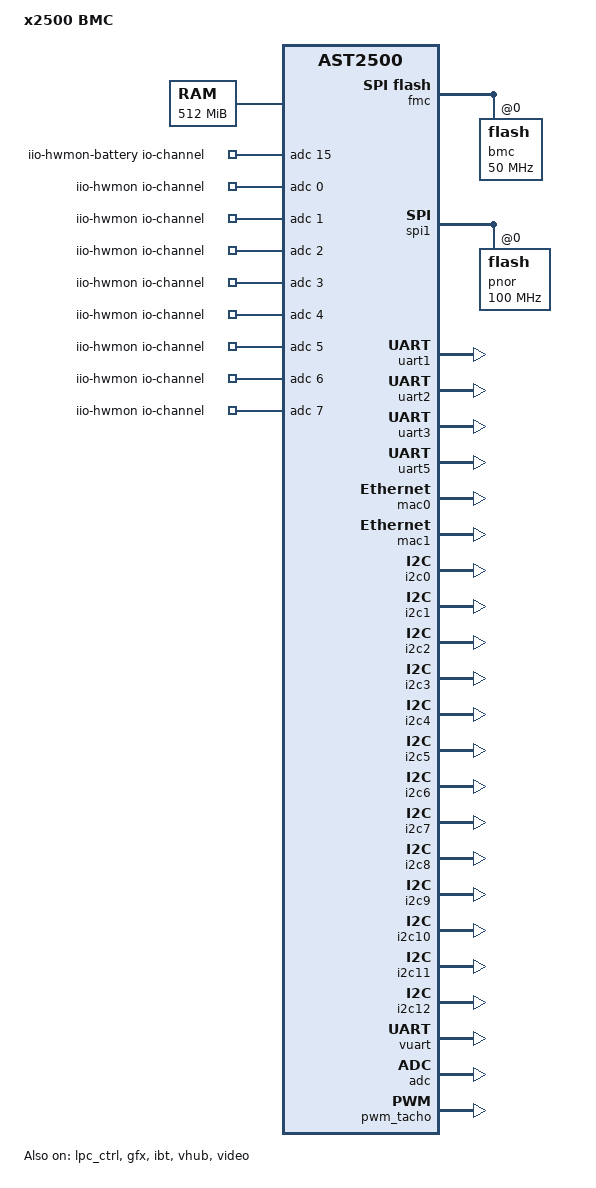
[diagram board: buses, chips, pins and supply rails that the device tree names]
// SPDX-License-Identifier: GPL-2.0+
/dts-v1/;
#include "aspeed-g5.dtsi"
#include <dt-bindings/gpio/aspeed-gpio.h>

/ {
	model = "x2500 BMC";
	compatible = "smci,x2500-bmc", "aspeed,ast2500";

	chosen {
		stdout-path = &uart5;
		bootargs = "console=ttyS4,115200 earlyprintk";
	};

	memory@80000000 {
		reg = <0x80000000 0x20000000>;
	};

	reserved-memory {
		#address-cells = <1>;
		#size-cells = <1>;
		ranges;

		vga_memory: framebuffer@9f000000 {
			no-map;
			reg = <0x9f000000 0x01000000>; /* 16M */
		};

		flash_memory: region@98000000 {
			no-map;
			reg = <0x98000000 0x04000000>; /* 64M */
		};

		gfx_memory: framebuffer {
			size = <0x01000000>;
			alignment = <0x01000000>;
			compatible = "shared-dma-pool";
			reusable;
		};

		video_engine_memory: jpegbuffer {
			size = <0x02000000>;	/* 32M */
			alignment = <0x01000000>;
			compatible = "shared-dma-pool";
			reusable;
		};
	};

	gpio-keys {
		compatible = "gpio-keys";

	};

	iio-hwmon-battery {
		compatible = "iio-hwmon";
		io-channels = <&adc 15>;
	};

	iio-hwmon {
		compatible = "iio-hwmon";
		io-channels = <&adc 0>, <&adc 1>, <&adc 2>, <&adc 3>, <&adc 4>,
			<&adc 5>, <&adc 6>, <&adc 7>, <&adc 8>, <&adc 9>,
			<&adc 10>, <&adc 11>, <&adc 12>, <&adc 13>, <&adc 14>;
	};

};

&fmc {
	status = "okay";

	flash@0 {
		status = "okay";
		label = "bmc";
		m25p,fast-read;
		spi-max-frequency = <50000000>;
#include "openbmc-flash-layout.dtsi"
	};
};

&spi1 {
	status = "okay";
	pinctrl-names = "default";
	pinctrl-0 = <&pinctrl_spi1_default>;

	flash@0 {
		status = "okay";
		label = "pnor";
		m25p,fast-read;
		spi-max-frequency = <100000000>;
	};
};

&uart1 {
	/* Rear RS-232 connector */
	status = "okay";
	pinctrl-names = "default";
	pinctrl-0 = <&pinctrl_txd1_default
			&pinctrl_rxd1_default
			&pinctrl_nrts1_default
			&pinctrl_ndtr1_default
			&pinctrl_ndsr1_default
			&pinctrl_ncts1_default
			&pinctrl_ndcd1_default
			&pinctrl_nri1_default>;
};

&uart2 {
	/* Test Point */
	status = "okay";
	pinctrl-names = "default";
	pinctrl-0 = <&pinctrl_txd2_default &pinctrl_rxd2_default>;
};

&uart3 {
	/* APSS */
	status = "okay";
	pinctrl-names = "default";
	pinctrl-0 = <&pinctrl_txd3_default &pinctrl_rxd3_default>;
};

&uart5 {
	status = "okay";
};

&lpc_ctrl {
	status = "okay";
	memory-region = <&flash_memory>;
	flash = <&spi1>;
};

&mac0 {
	status = "okay";
	pinctrl-names = "default";
	pinctrl-0 = <&pinctrl_rmii1_default>;
	clocks = <&syscon ASPEED_CLK_GATE_MAC1CLK>,
		 <&syscon ASPEED_CLK_MAC1RCLK>;
	clock-names = "MACCLK", "RCLK";
	use-ncsi;
};

&mac1 {
	status = "okay";
	pinctrl-names = "default";
	pinctrl-0 = <&pinctrl_rgmii2_default &pinctrl_mdio2_default>;
};

&i2c0 {
	status = "okay";
};

&i2c1 {
	status = "okay";
};

&i2c2 {
	status = "okay";
};

&i2c3 {
	status = "okay";
};

&i2c4 {
	status = "okay";
};

&i2c5 {
	status = "okay";
};

&i2c6 {
	status = "okay";
};

&i2c7 {
	status = "okay";
};

&i2c8 {
	status = "okay";
};

&i2c9 {
	status = "okay";
};

&i2c10 {
	status = "okay";
};

&i2c11 {
	status = "okay";
};

&i2c12 {
	status = "okay";
};

&vuart {
	status = "okay";
};

&gfx {
	status = "okay";
	memory-region = <&gfx_memory>;
};

&pinctrl {
	aspeed,external-nodes = <&gfx &lhc>;
};

&wdt1 {
	aspeed,reset-type = "none";
	aspeed,external-signal;
	aspeed,ext-push-pull;
	aspeed,ext-active-high;

	pinctrl-names = "default";
	pinctrl-0 = <&pinctrl_wdtrst1_default>;
};

&ibt {
	status = "okay";

};

&adc {
	status = "okay";
	pinctrl-names = "default";
	pinctrl-0 = <&pinctrl_adc0_default &pinctrl_adc1_default
	 &pinctrl_adc2_default &pinctrl_adc3_default &pinctrl_adc4_default
	 &pinctrl_adc5_default &pinctrl_adc6_default &pinctrl_adc7_default
	 &pinctrl_adc8_default &pinctrl_adc9_default &pinctrl_adc10_default
	 &pinctrl_adc11_default &pinctrl_adc12_default &pinctrl_adc13_default
	 &pinctrl_adc14_default &pinctrl_adc15_default>;
};

&vhub {
	status = "okay";
};

&video {
	status = "okay";
	memory-region = <&video_engine_memory>;
};

&pwm_tacho {
	status = "okay";
	pinctrl-names = "default";
	pinctrl-0 = <&pinctrl_pwm0_default &pinctrl_pwm1_default
		&pinctrl_pwm2_default &pinctrl_pwm3_default
		&pinctrl_pwm4_default &pinctrl_pwm5_default
		&pinctrl_pwm6_default &pinctrl_pwm7_default>;

	fan@0 {
		reg = <0x00>;
		aspeed,fan-tach-ch = /bits/ 8 <0x00>;
	};

	fan@1 {
		reg = <0x01>;
		aspeed,fan-tach-ch = /bits/ 8 <0x01>;
	};

	fan@2 {
		reg = <0x02>;
		aspeed,fan-tach-ch = /bits/ 8 <0x02>;
	};

	fan@3 {
		reg = <0x03>;
		aspeed,fan-tach-ch = /bits/ 8 <0x03>;
	};

	fan@4 {
		reg = <0x04>;
		aspeed,fan-tach-ch = /bits/ 8 <0x04>;
	};

	fan@5 {
		reg = <0x05>;
		aspeed,fan-tach-ch = /bits/ 8 <0x05>;
	};

	fan@6 {
		reg = <0x06>;
		aspeed,fan-tach-ch = /bits/ 8 <0x06>;
	};

	fan@7 {
		reg = <0x07>;
		aspeed,fan-tach-ch = /bits/ 8 <0x07>;
	};

};

